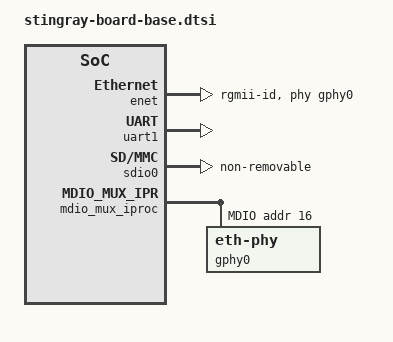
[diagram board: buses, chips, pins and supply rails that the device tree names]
#include "stingray.dtsi"
#include <dt-bindings/gpio/gpio.h>
/ {
	aliases {
		serial0 = &uart1;
		serial1 = &uart0;
		serial2 = &uart2;
		serial3 = &uart3;
	};
	chosen {
		stdout-path = "serial0:115200n8";
	};
};
&memory {  
	reg = <0x00000000 0x80000000 0x0 0x80000000>,  
	      <0x00000008 0x80000000 0x1 0x80000000>;  
};
&enet {
	phy-mode = "rgmii-id";
	phy-handle = <&gphy0>;
};
&uart1 {
	status = "okay";
};
&sdio0 {
	non-removable;
	full-pwr-cycle;
};
&sdio1 {
	full-pwr-cycle;
};
&mdio_mux_iproc {
	mdio@10 {
		gphy0: eth-phy@10 {
			reg = <0x10>;
		};
	};
};
